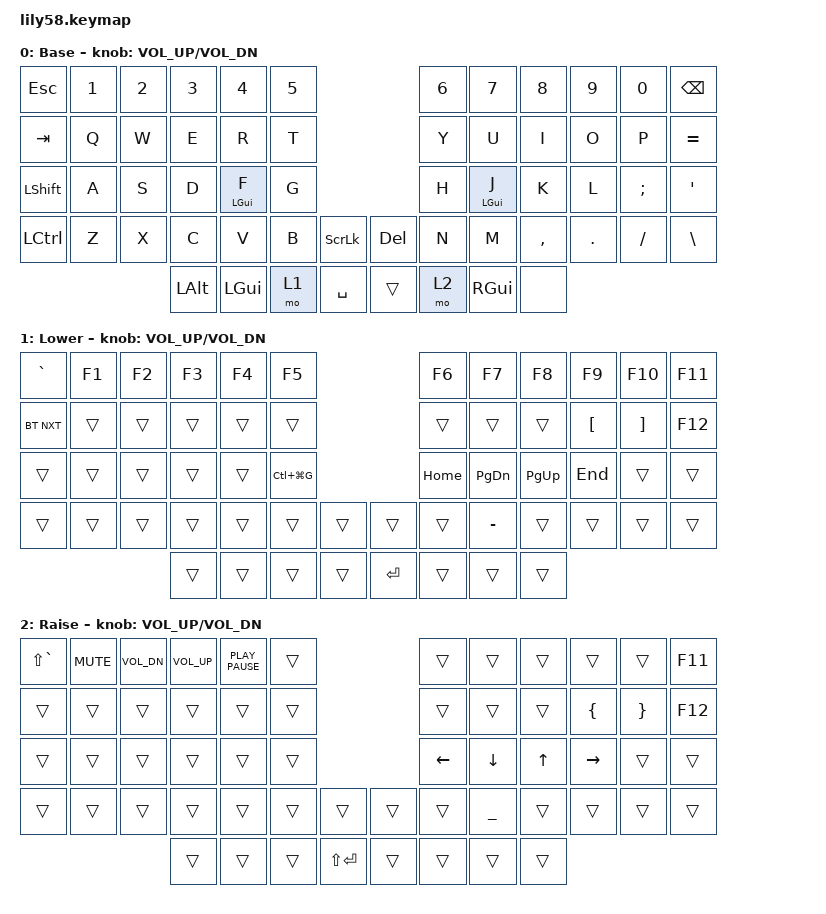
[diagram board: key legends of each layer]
/*
 * Copyright (c) 2020 The ZMK Contributors
 *
 * SPDX-License-Identifier: MIT
 */

#include <behaviors.dtsi>
#include <dt-bindings/zmk/bt.h>
#include <dt-bindings/zmk/keys.h>

// Behavior Overrides

&mt {
    flavor = "tap-preferred";
    tapping-term-ms = <200>;
    quick-tap-ms = <200>;
    require-prior-idle-ms = <125>;
};

#define KEYS_L 0 1 2 3 4 5 12 13 14 15 16 17 24 25 26 27 28 29 36 37 38 39 40 41 42
#define KEYS_R 6 7 8 9 10 11 18 19 20 21 22 23 30 31 32 33 34 35 43 44 45 46 47 48 49
#define THUMBS_L 50 51 52 53
#define THUMBS_R 54 55 56 57

/ {
    behaviors {
        hml: homerow_mods_left {
            compatible = "zmk,behavior-hold-tap";
            label = "HOMEROW_MODS_LEFT";
            #binding-cells = <2>;
            bindings = <&kp>, <&kp>;

            flavor = "tap-preferred";
            tapping-term-ms = <200>;
            quick-tap-ms = <200>;
            require-prior-idle-ms = <125>;

            hold-trigger-key-positions = <KEYS_R THUMBS_L THUMBS_R>;
            hold-trigger-on-release;
        };

        hmr: homerow_mods_right {
            compatible = "zmk,behavior-hold-tap";
            label = "HOMEROW_MODS_RIGHT";
            #binding-cells = <2>;
            bindings = <&kp>, <&kp>;

            flavor = "tap-preferred";
            tapping-term-ms = <200>;
            quick-tap-ms = <200>;
            require-prior-idle-ms = <125>;

            hold-trigger-key-positions = <KEYS_L THUMBS_L THUMBS_R>;
            hold-trigger-on-release;
        };
    };

    keymap {
        compatible = "zmk,keymap";

        default_layer {
            // ------------------------------------------------------------------------------------------------------------
            // |  ESC  |  1  |  2  |  3   |  4   |  5   |                   |  6   |  7    |  8    |  9   |   0   |  BSPC |
            // |  TAB  |  Q  |  W  |  E   |  R   |  T   |                   |  Y   |  U    |  I    |  O   |   P   |   =   |
            // | SHIFT |  A  |  S  |  D   | HML F|  G   |                   |  H   | HMR J |  K    |  L   |   ;   |   '   |
            // |  CTRL |  Z  |  X  |  C   |  V   |  B   | SLCK   |  | DEL   |  N   |  M    |  ,    |  .   |   /   |   \   |
            //                     | ALT  | GUI  | LOWER|  SPACE |  | trans | RAISE| GUI   | none  |

            display-name = "Base";
            bindings = <
&kp ESC           &kp N1  &kp N2  &kp N3        &kp N4            &kp N5                                &kp N6  &kp N7            &kp N8     &kp N9   &kp N0    &kp BACKSPACE
&kp TAB           &kp Q   &kp W   &kp E         &kp R             &kp T                                 &kp Y   &kp U             &kp I      &kp O    &kp P     &kp EQUAL
&kp LEFT_SHIFT    &kp A   &kp S   &kp D         &hml LEFT_GUI F   &kp G                                 &kp H   &hmr LEFT_GUI J   &kp K      &kp L    &kp SEMI  &kp SQT
&kp LEFT_CONTROL  &kp Z   &kp X   &kp C         &kp V             &kp B   &kp SCROLLLOCK    &kp DELETE  &kp N   &kp M             &kp COMMA  &kp DOT  &kp FSLH  &kp BACKSLASH
                                  &kp LEFT_ALT  &kp LEFT_GUI      &mo 1   &kp SPACE         &trans      &mo 2   &kp RIGHT_GUI     &none
            >;

            sensor-bindings = <&inc_dec_kp C_VOL_UP C_VOL_DN>;
        };

        lower_layer {
            // ------------------------------------------------------------------------------------------------------------
            // |   `   |  F1 |  F2 |  F3  |  F4  |  F5  |                   |  F6  |  F7   |  F8   |  F9  |  F10  |  F11  |
            // | BTNXT |     |     |      |      |      |                   |      |       |       |   [  |   ]   |  F12  |
            // |       |     |     |      |      |CLG(G)|                   | HOME | PGDN  | PGUP  |  END |       |       |
            // |       |     |     |      |      |      |        |  |       |      |   -   |       |      |       |       |
            //                     |      |      |      |        |  | ENTER |      |       |       |

            display-name = "Lower";
            bindings = <
&kp GRAVE   &kp F1  &kp F2  &kp F3  &kp F4  &kp F5                               &kp F6    &kp F7         &kp F8       &kp F9            &kp F10            &kp F11
&bt BT_NXT  &trans  &trans  &trans  &trans  &trans                               &trans    &trans         &trans       &kp LEFT_BRACKET  &kp RIGHT_BRACKET  &kp F12
&trans      &trans  &trans  &trans  &trans  &kp LC(LG(G))                        &kp HOME  &kp PAGE_DOWN  &kp PAGE_UP  &kp END           &trans             &trans
&trans      &trans  &trans  &trans  &trans  &trans         &trans    &trans      &trans    &kp MINUS      &trans       &trans            &trans             &trans
                            &trans  &trans  &trans         &trans    &kp RETURN  &trans    &trans         &trans
            >;

            sensor-bindings = <&inc_dec_kp C_VOL_UP C_VOL_DN>;
        };

        raise_layer {
            // ------------------------------------------------------------------------------------------------------------
            // |   ~   | MUTE| VOLD| VOLU | PLAY |      |                   |      |       |       |      |       |  F11  |
            // |       |     |     |      |      |      |                   |      |       |       |   {  |   }   |  F12  |
            // |       |     |     |      |      |      |                   |  <-  |   v   |   ^   |  ->  |       |       |
            // |       |     |     |      |      |      |        |  |       |      |   _   |       |      |       |       |
            //                     |      |      |      |SFT_RET |  |       |      |       |       |

            display-name = "Raise";
            bindings = <
&kp LS(GRAVE)  &kp K_MUTE  &kp C_VOL_DN  &kp C_VOL_UP  &kp K_PLAY_PAUSE  &trans                            &trans          &trans          &trans        &trans          &trans           &kp F11
&trans         &trans      &trans        &trans        &trans            &trans                            &trans          &trans          &trans        &kp LEFT_BRACE  &kp RIGHT_BRACE  &kp F12
&trans         &trans      &trans        &trans        &trans            &trans                            &kp LEFT_ARROW  &kp DOWN_ARROW  &kp UP_ARROW  &kp RIGHT       &trans           &trans
&trans         &trans      &trans        &trans        &trans            &trans  &trans            &trans  &trans          &kp UNDER       &trans        &trans          &trans           &trans
                                         &trans        &trans            &trans  &kp LS(RETURN)    &trans  &trans          &trans          &trans
            >;

            sensor-bindings = <&inc_dec_kp C_VOL_UP C_VOL_DN>;
        };

        extra_1 { status = "reserved"; };

        extra_2 { status = "reserved"; };

        extra_3 { status = "reserved"; };
    };
};
